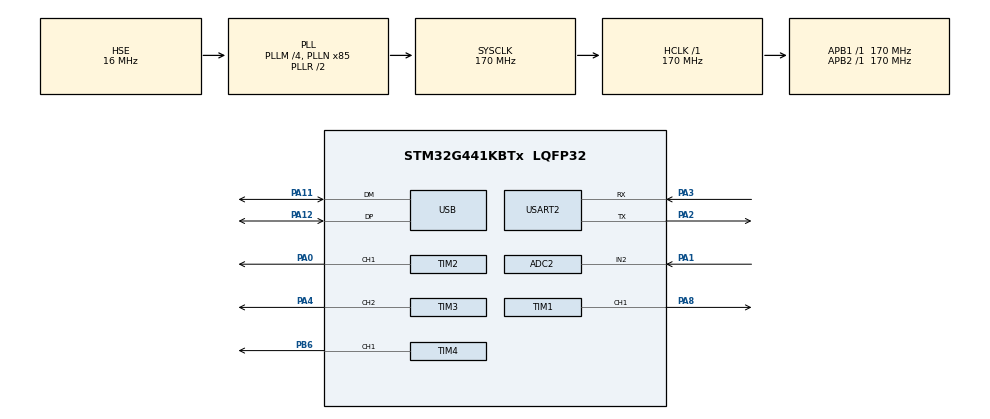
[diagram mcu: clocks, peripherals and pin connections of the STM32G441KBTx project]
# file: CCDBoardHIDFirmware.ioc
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ADC2.Channel-0\#ChannelRegularConversion=ADC_CHANNEL_2
ADC2.DMAContinuousRequests=ENABLE
ADC2.ExternalTrigConv=ADC_EXTERNALTRIG_T4_TRGO
ADC2.NbrOfConversionFlag=1
ADC2.OffsetNumber-0\#ChannelRegularConversion=ADC_OFFSET_NONE
ADC2.Rank-0\#ChannelRegularConversion=1
ADC2.SamplingTime-0\#ChannelRegularConversion=ADC_SAMPLETIME_2CYCLES_5
Dma.ADC2.0.Direction=DMA_PERIPH_TO_MEMORY
Dma.ADC2.0.EventEnable=ENABLE
Dma.ADC2.0.Instance=DMA1_Channel1
Dma.ADC2.0.MemDataAlignment=DMA_MDATAALIGN_WORD
Dma.ADC2.0.MemInc=DMA_MINC_ENABLE
Dma.ADC2.0.Mode=DMA_NORMAL
Dma.ADC2.0.PeriphDataAlignment=DMA_PDATAALIGN_HALFWORD
Dma.ADC2.0.PeriphInc=DMA_PINC_DISABLE
Dma.ADC2.0.Polarity=HAL_DMAMUX_REQ_GEN_RISING
Dma.ADC2.0.Priority=DMA_PRIORITY_LOW
Dma.ADC2.0.RequestNumber=1
Dma.ADC2.0.SignalID=NONE
Dma.ADC2.0.SyncEnable=DISABLE
Dma.ADC2.0.SyncPolarity=HAL_DMAMUX_SYNC_NO_EVENT
Dma.ADC2.0.SyncRequestNumber=1
Dma.ADC2.0.SyncSignalID=NONE
Dma.Request0=ADC2
Mcu.Family=STM32G4
Mcu.Name=STM32G441KBTx
Mcu.Package=LQFP32
NVIC.DMA1_Channel1_IRQn=true\:0\:0\:false\:false\:true\:false\:true\:true
NVIC.DMAMUX_OVR_IRQn=true\:0\:0\:false\:false\:true\:false\:true\:true
NVIC.PriorityGroup=NVIC_PRIORITYGROUP_4
NVIC.TIM2_IRQn=true\:0\:0\:false\:false\:true\:true\:true\:true
NVIC.USB_LP_IRQn=true\:0\:0\:false\:false\:true\:false\:true\:true
PA0.Signal=S_TIM2_CH1
PA1.Mode=IN2-Single-Ended
PA1.Signal=ADC2_IN2
PA11.Mode=Device
PA11.Signal=USB_DM
PA12.Mode=Device
PA12.Signal=USB_DP
PA13.Mode=Serial_Wire
PA13.Signal=SYS_JTMS-SWDIO
PA14.Mode=Serial_Wire
PA14.Signal=SYS_JTCK-SWCLK
PA2.Mode=Asynchronous
PA2.Signal=USART2_TX
PA3.Mode=Asynchronous
PA3.Signal=USART2_RX
PA4.Signal=S_TIM3_CH2
PA8.Signal=S_TIM1_CH1
PB6.Signal=S_TIM4_CH1
PF0-OSC_IN.Mode=HSE-External-Oscillator
PF0-OSC_IN.Signal=RCC_OSC_IN
PF1-OSC_OUT.Mode=HSE-External-Oscillator
PF1-OSC_OUT.Signal=RCC_OSC_OUT
ProjectManager.HeapSize=0x200
ProjectManager.StackSize=0x400
ProjectManager.TargetToolchain=STM32CubeIDE
RCC.ADC12Freq_Value=170000000
RCC.AHBFreq_Value=170000000
RCC.APB1Freq_Value=170000000
RCC.APB1TimFreq_Value=170000000
RCC.APB2Freq_Value=170000000
RCC.APB2TimFreq_Value=170000000
RCC.CK48CLockSelection=RCC_USBCLKSOURCE_HSI48
RCC.CortexFreq_Value=170000000
RCC.EXTERNAL_CLOCK_VALUE=12288000
RCC.HCLKFreq_Value=170000000
RCC.HSE_VALUE=16000000
RCC.HSI48_VALUE=48000000
RCC.HSI_VALUE=16000000
RCC.LSE_VALUE=32768
RCC.PLLM=RCC_PLLM_DIV4
RCC.PLLN=85
RCC.PLLSourceVirtual=RCC_PLLSOURCE_HSE
RCC.SYSCLKFreq_VALUE=170000000
RCC.SYSCLKSource=RCC_SYSCLKSOURCE_PLLCLK
RCC.USBFreq_Value=48000000
RCC.VCOOutputFreq_Value=340000000
SH.S_TIM1_CH1.0=TIM1_CH1,PWM Generation1 CH1
SH.S_TIM2_CH1.0=TIM2_CH1,PWM Generation1 CH1
SH.S_TIM3_CH2.0=TIM3_CH2,PWM Generation2 CH2
SH.S_TIM4_CH1.0=TIM4_CH1,PWM Generation1 CH1
TIM1.Channel-PWM\ Generation1\ CH1=TIM_CHANNEL_1
TIM1.OCPolarity_1=TIM_OCPOLARITY_LOW
TIM1.PeriodNoDither=25499
TIM1.Prescaler=49
TIM1.PulseNoDither_1=33
TIM1.TIM_MasterOutputTrigger=TIM_TRGO_ENABLE
TIM1.TIM_MasterOutputTrigger2=TIM_TRGO2_ENABLE
TIM2.Channel-PWM\ Generation1\ CH1=TIM_CHANNEL_1
TIM2.PeriodNoDither=3399
TIM2.PulseNoDither_1=679
TIM2.TIM_MasterSlaveMode=TIM_MASTERSLAVEMODE_ENABLE
TIM3.Channel-PWM\ Generation2\ CH2=TIM_CHANNEL_2
TIM3.PeriodNoDither=84
TIM3.PulseNoDither_2=42
TIM4.Channel-PWM\ Generation1\ CH1=TIM_CHANNEL_1
TIM4.PeriodNoDither=336
TIM4.PulseNoDither_1=42
TIM4.TIM_MasterOutputTrigger=TIM_TRGO_UPDATE
USART2.VirtualMode-Asynchronous=VM_ASYNC
USB_DEVICE.CLASS_NAME_FS=CUSTOM_HID
USB_DEVICE.USBD_CUSTOMHID_OUTREPORT_BUF_SIZE=2
USB_DEVICE.USBD_CUSTOM_HID_REPORT_DESC_SIZE=27
USB_DEVICE.USBD_LPM_ENABLED=0
USB_DEVICE.USBD_SELF_POWERED=0
USB_DEVICE.VirtualMode=CustomHid
USB_DEVICE.VirtualModeFS=Custom_Hid_FS
VP_SYS_VS_DBSignals.Mode=DisableDeadBatterySignals
VP_TIM1_VS_ClockSourceINT.Mode=Internal
VP_TIM2_VS_ClockSourceINT.Mode=Internal
VP_TIM2_VS_ClockSourceITR.Mode=TriggerSource_ITR0
VP_TIM2_VS_ControllerModeTrigger.Mode=Trigger Mode
VP_TIM3_VS_ClockSourceINT.Mode=Internal
VP_TIM4_VS_ClockSourceINT.Mode=Internal
VP_USB_DEVICE_VS_USB_DEVICE_CUSTOM_HID_FS.Mode=CUSTOM_HID_FS
board=custom

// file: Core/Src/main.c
/* USER CODE BEGIN Header */
/**
  ******************************************************************************
  * @file           : main.c
  * @brief          : Main program body
  ******************************************************************************
  * @attention
  *
  * Copyright (c) 2024 STMicroelectronics.
  * All rights reserved.
  *
  * This software is licensed under terms that can be found in the LICENSE file
  * in the root directory of this software component.
  * If no LICENSE file comes with this software, it is provided AS-IS.
  *
  ******************************************************************************
  */
/* USER CODE END Header */
#include "main.h"
#include "usb_device.h"

/* USER CODE BEGIN PD */
#define CCD_ARRAY_SIZE 3648
#define HID_PACKET_SIZE 64  // Standard HID packet size
#define HID_PAYLOAD_SIZE (HID_PACKET_SIZE - 1)  // 63 bytes for payload
#define HEADER_SEQ_MASK 0x0F
#define HEADER_ROLL_MASK 0xF0
#define MAX_USB_RETRIES 3
/* USER CODE END PD */

/* USER CODE BEGIN PM */
extern USBD_HandleTypeDef hUsbDeviceFS;
/* USER CODE END PM */

ADC_HandleTypeDef hadc2;
DMA_HandleTypeDef hdma_adc2;

TIM_HandleTypeDef htim1;
TIM_HandleTypeDef htim2;
TIM_HandleTypeDef htim3;
TIM_HandleTypeDef htim4;

UART_HandleTypeDef huart2;

/* USER CODE BEGIN PV */

volatile uint32_t ccd_read_buffer[CCD_ARRAY_SIZE];
uint16_t data_buffer_to_send[CCD_ARRAY_SIZE];
volatile uint8_t conversion_complete = 0;

/* USER CODE END PV */

void SystemClock_Config(void);
static void MX_GPIO_Init(void);
static void MX_DMA_Init(void);
static void MX_ADC2_Init(void);
static void MX_TIM1_Init(void);
static void MX_TIM2_Init(void);
static void MX_TIM3_Init(void);
static void MX_TIM4_Init(void);
static void MX_USART2_UART_Init(void);

/* USER CODE BEGIN 0 */

//Interrupt handler for DMA to complete (which corresponds to full CCD array read)
void HAL_ADC_ConvCpltCallback(ADC_HandleTypeDef* hadc)
{
  if(hadc->Instance == ADC2)
  {
    conversion_complete = 1;

    // Stop TIM4 after conversion complete and disable triggering it

    // Disable all slave mode selections
    TIM_SlaveConfigTypeDef sSlaveConfig = {0};
    sSlaveConfig.SlaveMode = TIM_SLAVEMODE_DISABLE;

    // Set the desired input trigger source
    sSlaveConfig.InputTrigger = TIM_TS_ITR0;

    // Configure the timer with the new settings
    if (HAL_TIM_SlaveConfigSynchro(&htim4, &sSlaveConfig) != HAL_OK) {
        // Handle error
        Error_Handler();
    }

    HAL_TIM_PWM_Stop(&htim4, TIM_CHANNEL_1);

    // Stop the timer
    HAL_TIM_Base_Stop(&htim4);

    //Stop ADC DMA
    HAL_ADC_Stop_DMA(&hadc2);
  }
}

//Initiates a single CCD array read DMA run
static void EnableADCConversion(void)
{
	HAL_StatusTypeDef status = HAL_ADC_Start_DMA(&hadc2, (uint32_t*)ccd_read_buffer, CCD_ARRAY_SIZE);
	if (status != HAL_OK) {
	    // Handle error
	    Error_Handler();
	}

    TIM_MasterConfigTypeDef sMasterConfig = {0};
    sMasterConfig.MasterOutputTrigger = TIM_TRGO_UPDATE;
    sMasterConfig.MasterSlaveMode = TIM_MASTERSLAVEMODE_DISABLE;
    if (HAL_TIMEx_MasterConfigSynchronization(&htim4, &sMasterConfig) != HAL_OK)
    {
      Error_Handler();
    }

    TIM_OC_InitTypeDef sConfigOC = {0};
    sConfigOC.OCMode = TIM_OCMODE_PWM1;
    sConfigOC.Pulse = 42;
    sConfigOC.OCPolarity = TIM_OCPOLARITY_HIGH;
    sConfigOC.OCFastMode = TIM_OCFAST_DISABLE;

    HAL_TIM_PWM_ConfigChannel(&htim4, &sConfigOC, TIM_CHANNEL_1);

    // Set TIM4 into slave trigger mode driven by ICG driving  timer TIM1
    // TIM4 drives DMA conversion, so it will enable analog data conversion
    // and storing it into memory
    TIM_SlaveConfigTypeDef sSlaveConfig = {0};

    // Set the desired slave mode (e.g., Reset mode, Gated mode, etc.)
    sSlaveConfig.SlaveMode = TIM_SLAVEMODE_TRIGGER;

    // Set the desired input trigger source
    sSlaveConfig.InputTrigger = TIM_TS_ITR0;

    // Configure the timer with the new settings
    if (HAL_TIM_SlaveConfigSynchro(&htim4, &sSlaveConfig) != HAL_OK) {
        // Handle error
        Error_Handler();
    }

    // Since the timer is in slave mode, I expect this won't start generating PWM immediatelly
    // Instead it will wait until master event and start PWM after
    HAL_TIM_PWM_Start(&htim4, TIM_CHANNEL_1);
}

static uint8_t rolling_counter = 0;

USBD_StatusTypeDef UsbDataAndCommandsExchangeLoop(uint16_t *data, uint16_t length) {
    struct OutDataMessage out_message;
    //struct InputCommandMessage* input_cmd_message = (struct InputCommandMessage*)USB_RX_Buffer;

    rolling_counter = (rolling_counter + 1) & 0x0F;

    /*
     *  uint32_t ceiling_division_unsigned(uint32_t numerator, uint32_t denominator) {
     *    return (numerator + denominator - 1) / denominator;
	 *	}
     */
    const uint8_t number_of_chunks_to_send = (CCD_ARRAY_SIZE + DATA_CHUNK_SIZE_SAMPLES - 1) / DATA_CHUNK_SIZE_SAMPLES;

    for (uint8_t data_chunk_index = 0;
         data_chunk_index < number_of_chunks_to_send;
         ++data_chunk_index)
    {
        out_message.seq_prefix = data_chunk_index;
        out_message.shutter = 0xBF;

        uint16_t chunk_size_samples = data_chunk_index == number_of_chunks_to_send - 1 ?
            CCD_ARRAY_SIZE % DATA_CHUNK_SIZE_SAMPLES : DATA_CHUNK_SIZE_SAMPLES;

        memcpy(
            out_message.data,
			&data[data_chunk_index * DATA_CHUNK_SIZE_SAMPLES],
			chunk_size_samples * sizeof(uint16_t)
		);

        if (chunk_size_samples < DATA_CHUNK_SIZE_SAMPLES) {
            memset(
                &out_message.data[1 + chunk_size_samples * sizeof(uint16_t)],
				0,
				DATA_CHUNK_SIZE_SAMPLES - chunk_size_samples
			);
        }

        uint8_t status = (int8_t)USBD_BUSY;
        puts("Attempting to send the data over USB\r");
        for (int retry = 0; (retry < MAX_USB_RETRIES) && (status != (uint8_t)USBD_OK); retry++) {
            status = USBD_CUSTOM_HID_SendReport(&hUsbDeviceFS, &out_message, HID_PACKET_SIZE);
            printf("HID send attempt: %d, USB status = %d\n\r", (int)retry, (int)status);
        }

        if (status != USBD_OK) {
            return status; // Transmission failed after max retries
        }
    }

    return USBD_OK;
}

void HAL_TIM_PeriodElapsedCallback(TIM_HandleTypeDef *htim)
{
  if(htim->Instance == TIM2)
  {
    // Re-configure Tim1 TRGO to Updateevent
	TIM_MasterConfigTypeDef sMasterConfig = {0};
	sMasterConfig.MasterOutputTrigger = TIM_TRGO_UPDATE;
	sMasterConfig.MasterSlaveMode = TIM_MASTERSLAVEMODE_ENABLE;

	HAL_StatusTypeDef status = HAL_TIMEx_MasterConfigSynchronization(&htim1, &sMasterConfig);
	if (status != HAL_OK)
	{
		// Handle error
		Error_Handler();
	}

	// Disable interrupt for Tim2
	HAL_TIM_Base_Stop_IT(&htim2);

	//Looks like trigger starts timer
	// TODO: Configure PWM without starting the timer
	//HAL_TIM_PWM_Start(&htim4, TIM_CHANNEL_1);

	// Start ADC conversion (also handles slave settings for tim4)
	EnableADCConversion();
  }
}

/* USER CODE END 0 */

int main(void)
{

  /* MCU Configuration--------------------------------------------------------*/

  /* Reset of all peripherals, Initializes the Flash interface and the Systick. */
  HAL_Init();

  /* Configure the system clock */
  SystemClock_Config();

  /* Initialize all configured peripherals */
  MX_GPIO_Init();
  MX_DMA_Init();
  MX_ADC2_Init();
  MX_TIM1_Init();
  MX_TIM2_Init();
  MX_TIM3_Init();
  MX_TIM4_Init();
  MX_USART2_UART_Init();
  MX_USB_Device_Init();
  /* USER CODE BEGIN 2 */
  HAL_TIM_PWM_Start(&htim1, TIM_CHANNEL_1);
  __HAL_TIM_SET_COUNTER(&htim1, 1); //850 ns delay
  HAL_TIM_Base_Start_IT(&htim2);
  HAL_TIM_PWM_Start(&htim2, TIM_CHANNEL_1);
  HAL_TIM_PWM_Start(&htim3, TIM_CHANNEL_2);
  htim3.Instance->CCR2 = 42;

  for (int i = 0; i < CCD_ARRAY_SIZE; ++i)
	  ccd_read_buffer[i] = 0xFFFFFFFF;

  /* USER CODE END 2 */

  /* Infinite loop */
  while (1)
  {

    /* USER CODE BEGIN 3 */
	if (conversion_complete)
	{
	  puts("Conversion batch completed!");

	  // Copy data from ccd_read_buffer to uart_send_buffer
	  for (int i = 0; i < CCD_ARRAY_SIZE; ++i) {
		  data_buffer_to_send[i] = (uint16_t)ccd_read_buffer[i];
	  }

	  /*
	  // Transmit data via UART
	  HAL_UART_Transmit(
			  &huart2,
			  (uint8_t*)uart_send_buffer,
			  (CCD_ARRAY_SIZE + 1) * sizeof(uint16_t),
			  HAL_MAX_DELAY);
	  */
	  USBD_StatusTypeDef send_result = UsbDataAndCommandsExchangeLoop(data_buffer_to_send, CCD_ARRAY_SIZE);

	  if (send_result != USBD_OK)
		  puts("Error while sending the data over USB");
	  else
		  puts("Successfully sent the data over USB");

	  conversion_complete = 0;

	  // Enable next ADC conversion (will start on next timer event)
	  puts("Re-enabling ADC conversion");
	  EnableADCConversion();
	}
  }
  /* USER CODE END 3 */
}

void SystemClock_Config(void)
{
  RCC_OscInitTypeDef RCC_OscInitStruct = {0};
  RCC_ClkInitTypeDef RCC_ClkInitStruct = {0};

  /** Configure the main internal regulator output voltage
  */
  HAL_PWREx_ControlVoltageScaling(PWR_REGULATOR_VOLTAGE_SCALE1_BOOST);

  /** Initializes the RCC Oscillators according to the specified parameters
  * in the RCC_OscInitTypeDef structure.
  */
  RCC_OscInitStruct.OscillatorType = RCC_OSCILLATORTYPE_HSI48|RCC_OSCILLATORTYPE_HSE;
  RCC_OscInitStruct.HSEState = RCC_HSE_ON;
  RCC_OscInitStruct.HSI48State = RCC_HSI48_ON;
  RCC_OscInitStruct.PLL.PLLState = RCC_PLL_ON;
  RCC_OscInitStruct.PLL.PLLSource = RCC_PLLSOURCE_HSE;
  RCC_OscInitStruct.PLL.PLLM = RCC_PLLM_DIV4;
  RCC_OscInitStruct.PLL.PLLN = 85;
  RCC_OscInitStruct.PLL.PLLP = RCC_PLLP_DIV2;
  RCC_OscInitStruct.PLL.PLLQ = RCC_PLLQ_DIV2;
  RCC_OscInitStruct.PLL.PLLR = RCC_PLLR_DIV2;
  if (HAL_RCC_OscConfig(&RCC_OscInitStruct) != HAL_OK)
  {
    Error_Handler();
  }

  /** Initializes the CPU, AHB and APB buses clocks
  */
  RCC_ClkInitStruct.ClockType = RCC_CLOCKTYPE_HCLK|RCC_CLOCKTYPE_SYSCLK
                              |RCC_CLOCKTYPE_PCLK1|RCC_CLOCKTYPE_PCLK2;
  RCC_ClkInitStruct.SYSCLKSource = RCC_SYSCLKSOURCE_PLLCLK;
  RCC_ClkInitStruct.AHBCLKDivider = RCC_SYSCLK_DIV1;
  RCC_ClkInitStruct.APB1CLKDivider = RCC_HCLK_DIV1;
  RCC_ClkInitStruct.APB2CLKDivider = RCC_HCLK_DIV1;

  if (HAL_RCC_ClockConfig(&RCC_ClkInitStruct, FLASH_LATENCY_4) != HAL_OK)
  {
    Error_Handler();
  }
}

static void MX_ADC2_Init(void)
{

  ADC_ChannelConfTypeDef sConfig = {0};

  /** Common config
  */
  hadc2.Instance = ADC2;
  hadc2.Init.ClockPrescaler = ADC_CLOCK_SYNC_PCLK_DIV4;
  hadc2.Init.Resolution = ADC_RESOLUTION_12B;
  hadc2.Init.DataAlign = ADC_DATAALIGN_RIGHT;
  hadc2.Init.GainCompensation = 0;
  hadc2.Init.ScanConvMode = ADC_SCAN_DISABLE;
  hadc2.Init.EOCSelection = ADC_EOC_SINGLE_CONV;
  hadc2.Init.LowPowerAutoWait = DISABLE;
  hadc2.Init.ContinuousConvMode = DISABLE;
  hadc2.Init.NbrOfConversion = 1;
  hadc2.Init.DiscontinuousConvMode = DISABLE;
  hadc2.Init.ExternalTrigConv = ADC_EXTERNALTRIG_T4_TRGO;
  hadc2.Init.ExternalTrigConvEdge = ADC_EXTERNALTRIGCONVEDGE_RISING;
  hadc2.Init.DMAContinuousRequests = ENABLE;
  hadc2.Init.Overrun = ADC_OVR_DATA_PRESERVED;
  hadc2.Init.OversamplingMode = DISABLE;
  if (HAL_ADC_Init(&hadc2) != HAL_OK)
  {
    Error_Handler();
  }

  /** Configure Regular Channel
  */
  sConfig.Channel = ADC_CHANNEL_2;
  sConfig.Rank = ADC_REGULAR_RANK_1;
  sConfig.SamplingTime = ADC_SAMPLETIME_2CYCLES_5;
  sConfig.SingleDiff = ADC_SINGLE_ENDED;
  sConfig.OffsetNumber = ADC_OFFSET_NONE;
  sConfig.Offset = 0;
  if (HAL_ADC_ConfigChannel(&hadc2, &sConfig) != HAL_OK)
  {
    Error_Handler();
  }

}

static void MX_TIM1_Init(void)
{

  TIM_ClockConfigTypeDef sClockSourceConfig = {0};
  TIM_MasterConfigTypeDef sMasterConfig = {0};
  TIM_OC_InitTypeDef sConfigOC = {0};
  TIM_BreakDeadTimeConfigTypeDef sBreakDeadTimeConfig = {0};

  htim1.Instance = TIM1;
  htim1.Init.Prescaler = 49;
  htim1.Init.CounterMode = TIM_COUNTERMODE_UP;
  htim1.Init.Period = 25499;
  htim1.Init.ClockDivision = TIM_CLOCKDIVISION_DIV1;
  htim1.Init.RepetitionCounter = 0;
  htim1.Init.AutoReloadPreload = TIM_AUTORELOAD_PRELOAD_DISABLE;
  if (HAL_TIM_Base_Init(&htim1) != HAL_OK)
  {
    Error_Handler();
  }
  sClockSourceConfig.ClockSource = TIM_CLOCKSOURCE_INTERNAL;
  if (HAL_TIM_ConfigClockSource(&htim1, &sClockSourceConfig) != HAL_OK)
  {
    Error_Handler();
  }
  if (HAL_TIM_PWM_Init(&htim1) != HAL_OK)
  {
    Error_Handler();
  }
  sMasterConfig.MasterOutputTrigger = TIM_TRGO_ENABLE;
  sMasterConfig.MasterOutputTrigger2 = TIM_TRGO2_ENABLE;
  sMasterConfig.MasterSlaveMode = TIM_MASTERSLAVEMODE_DISABLE;
  if (HAL_TIMEx_MasterConfigSynchronization(&htim1, &sMasterConfig) != HAL_OK)
  {
    Error_Handler();
  }
  sConfigOC.OCMode = TIM_OCMODE_PWM1;
  sConfigOC.Pulse = 33;
  sConfigOC.OCPolarity = TIM_OCPOLARITY_LOW;
  sConfigOC.OCNPolarity = TIM_OCNPOLARITY_HIGH;
  sConfigOC.OCFastMode = TIM_OCFAST_DISABLE;
  sConfigOC.OCIdleState = TIM_OCIDLESTATE_RESET;
  sConfigOC.OCNIdleState = TIM_OCNIDLESTATE_RESET;
  if (HAL_TIM_PWM_ConfigChannel(&htim1, &sConfigOC, TIM_CHANNEL_1) != HAL_OK)
  {
    Error_Handler();
  }
  sBreakDeadTimeConfig.OffStateRunMode = TIM_OSSR_DISABLE;
  sBreakDeadTimeConfig.OffStateIDLEMode = TIM_OSSI_DISABLE;
  sBreakDeadTimeConfig.LockLevel = TIM_LOCKLEVEL_OFF;
  sBreakDeadTimeConfig.DeadTime = 0;
  sBreakDeadTimeConfig.BreakState = TIM_BREAK_DISABLE;
  sBreakDeadTimeConfig.BreakPolarity = TIM_BREAKPOLARITY_HIGH;
  sBreakDeadTimeConfig.BreakFilter = 0;
  sBreakDeadTimeConfig.BreakAFMode = TIM_BREAK_AFMODE_INPUT;
  sBreakDeadTimeConfig.Break2State = TIM_BREAK2_DISABLE;
  sBreakDeadTimeConfig.Break2Polarity = TIM_BREAK2POLARITY_HIGH;
  sBreakDeadTimeConfig.Break2Filter = 0;
  sBreakDeadTimeConfig.Break2AFMode = TIM_BREAK_AFMODE_INPUT;
  sBreakDeadTimeConfig.AutomaticOutput = TIM_AUTOMATICOUTPUT_DISABLE;
  if (HAL_TIMEx_ConfigBreakDeadTime(&htim1, &sBreakDeadTimeConfig) != HAL_OK)
  {
    Error_Handler();
  }
  HAL_TIM_MspPostInit(&htim1);

}

static void MX_TIM2_Init(void)
{

  TIM_ClockConfigTypeDef sClockSourceConfig = {0};
  TIM_SlaveConfigTypeDef sSlaveConfig = {0};
  TIM_MasterConfigTypeDef sMasterConfig = {0};
  TIM_OC_InitTypeDef sConfigOC = {0};

  htim2.Instance = TIM2;
  htim2.Init.Prescaler = 0;
  htim2.Init.CounterMode = TIM_COUNTERMODE_UP;
  htim2.Init.Period = 3399;
  htim2.Init.ClockDivision = TIM_CLOCKDIVISION_DIV1;
  htim2.Init.AutoReloadPreload = TIM_AUTORELOAD_PRELOAD_DISABLE;
  if (HAL_TIM_Base_Init(&htim2) != HAL_OK)
  {
    Error_Handler();
  }
  sClockSourceConfig.ClockSource = TIM_CLOCKSOURCE_INTERNAL;
  if (HAL_TIM_ConfigClockSource(&htim2, &sClockSourceConfig) != HAL_OK)
  {
    Error_Handler();
  }
  if (HAL_TIM_PWM_Init(&htim2) != HAL_OK)
  {
    Error_Handler();
  }
  sSlaveConfig.SlaveMode = TIM_SLAVEMODE_TRIGGER;
  sSlaveConfig.InputTrigger = TIM_TS_ITR0;
  if (HAL_TIM_SlaveConfigSynchro(&htim2, &sSlaveConfig) != HAL_OK)
  {
    Error_Handler();
  }
  sMasterConfig.MasterOutputTrigger = TIM_TRGO_RESET;
  sMasterConfig.MasterSlaveMode = TIM_MASTERSLAVEMODE_ENABLE;
  if (HAL_TIMEx_MasterConfigSynchronization(&htim2, &sMasterConfig) != HAL_OK)
  {
    Error_Handler();
  }
  sConfigOC.OCMode = TIM_OCMODE_PWM1;
  sConfigOC.Pulse = 679;
  sConfigOC.OCPolarity = TIM_OCPOLARITY_HIGH;
  sConfigOC.OCFastMode = TIM_OCFAST_DISABLE;
  if (HAL_TIM_PWM_ConfigChannel(&htim2, &sConfigOC, TIM_CHANNEL_1) != HAL_OK)
  {
    Error_Handler();
  }
  HAL_TIM_MspPostInit(&htim2);

}

static void MX_TIM3_Init(void)
{

  TIM_ClockConfigTypeDef sClockSourceConfig = {0};
  TIM_MasterConfigTypeDef sMasterConfig = {0};
  TIM_OC_InitTypeDef sConfigOC = {0};

  htim3.Instance = TIM3;
  htim3.Init.Prescaler = 0;
  htim3.Init.CounterMode = TIM_COUNTERMODE_UP;
  htim3.Init.Period = 84;
  htim3.Init.ClockDivision = TIM_CLOCKDIVISION_DIV1;
  htim3.Init.AutoReloadPreload = TIM_AUTORELOAD_PRELOAD_DISABLE;
  if (HAL_TIM_Base_Init(&htim3) != HAL_OK)
  {
    Error_Handler();
  }
  sClockSourceConfig.ClockSource = TIM_CLOCKSOURCE_INTERNAL;
  if (HAL_TIM_ConfigClockSource(&htim3, &sClockSourceConfig) != HAL_OK)
  {
    Error_Handler();
  }
  if (HAL_TIM_PWM_Init(&htim3) != HAL_OK)
  {
    Error_Handler();
  }
  sMasterConfig.MasterOutputTrigger = TIM_TRGO_RESET;
  sMasterConfig.MasterSlaveMode = TIM_MASTERSLAVEMODE_DISABLE;
  if (HAL_TIMEx_MasterConfigSynchronization(&htim3, &sMasterConfig) != HAL_OK)
  {
    Error_Handler();
  }
  sConfigOC.OCMode = TIM_OCMODE_PWM1;
  sConfigOC.Pulse = 42;
  sConfigOC.OCPolarity = TIM_OCPOLARITY_HIGH;
  sConfigOC.OCFastMode = TIM_OCFAST_DISABLE;
  if (HAL_TIM_PWM_ConfigChannel(&htim3, &sConfigOC, TIM_CHANNEL_2) != HAL_OK)
  {
    Error_Handler();
  }
  HAL_TIM_MspPostInit(&htim3);

}

static void MX_TIM4_Init(void)
{

  TIM_ClockConfigTypeDef sClockSourceConfig = {0};
  TIM_MasterConfigTypeDef sMasterConfig = {0};
  TIM_OC_InitTypeDef sConfigOC = {0};

  htim4.Instance = TIM4;
  htim4.Init.Prescaler = 0;
  htim4.Init.CounterMode = TIM_COUNTERMODE_UP;
  htim4.Init.Period = 336;
  htim4.Init.ClockDivision = TIM_CLOCKDIVISION_DIV1;
  htim4.Init.AutoReloadPreload = TIM_AUTORELOAD_PRELOAD_DISABLE;
  if (HAL_TIM_Base_Init(&htim4) != HAL_OK)
  {
    Error_Handler();
  }
  sClockSourceConfig.ClockSource = TIM_CLOCKSOURCE_INTERNAL;
  if (HAL_TIM_ConfigClockSource(&htim4, &sClockSourceConfig) != HAL_OK)
  {
    Error_Handler();
  }
  if (HAL_TIM_PWM_Init(&htim4) != HAL_OK)
  {
    Error_Handler();
  }
  sMasterConfig.MasterOutputTrigger = TIM_TRGO_UPDATE;
  sMasterConfig.MasterSlaveMode = TIM_MASTERSLAVEMODE_DISABLE;
  if (HAL_TIMEx_MasterConfigSynchronization(&htim4, &sMasterConfig) != HAL_OK)
  {
    Error_Handler();
  }
  sConfigOC.OCMode = TIM_OCMODE_PWM1;
  sConfigOC.Pulse = 42;
  sConfigOC.OCPolarity = TIM_OCPOLARITY_HIGH;
  sConfigOC.OCFastMode = TIM_OCFAST_DISABLE;
  if (HAL_TIM_PWM_ConfigChannel(&htim4, &sConfigOC, TIM_CHANNEL_1) != HAL_OK)
  {
    Error_Handler();
  }
  HAL_TIM_MspPostInit(&htim4);

}

static void MX_USART2_UART_Init(void)
{

  huart2.Instance = USART2;
  huart2.Init.BaudRate = 115200;
  huart2.Init.WordLength = UART_WORDLENGTH_8B;
  huart2.Init.StopBits = UART_STOPBITS_1;
  huart2.Init.Parity = UART_PARITY_NONE;
  huart2.Init.Mode = UART_MODE_TX_RX;
  huart2.Init.HwFlowCtl = UART_HWCONTROL_NONE;
  huart2.Init.OverSampling = UART_OVERSAMPLING_16;
  huart2.Init.OneBitSampling = UART_ONE_BIT_SAMPLE_DISABLE;
  huart2.Init.ClockPrescaler = UART_PRESCALER_DIV1;
  huart2.AdvancedInit.AdvFeatureInit = UART_ADVFEATURE_NO_INIT;
  if (HAL_UART_Init(&huart2) != HAL_OK)
  {
    Error_Handler();
  }
  if (HAL_UARTEx_SetTxFifoThreshold(&huart2, UART_TXFIFO_THRESHOLD_1_8) != HAL_OK)
  {
    Error_Handler();
  }
  if (HAL_UARTEx_SetRxFifoThreshold(&huart2, UART_RXFIFO_THRESHOLD_1_8) != HAL_OK)
  {
    Error_Handler();
  }
  if (HAL_UARTEx_DisableFifoMode(&huart2) != HAL_OK)
  {
    Error_Handler();
  }

}

static void MX_DMA_Init(void)
{

  /* DMA controller clock enable */
  __HAL_RCC_DMAMUX1_CLK_ENABLE();
  __HAL_RCC_DMA1_CLK_ENABLE();

  /* DMA interrupt init */
  /* DMA1_Channel1_IRQn interrupt configuration */
  HAL_NVIC_SetPriority(DMA1_Channel1_IRQn, 0, 0);
  HAL_NVIC_EnableIRQ(DMA1_Channel1_IRQn);
  /* DMAMUX_OVR_IRQn interrupt configuration */
  HAL_NVIC_SetPriority(DMAMUX_OVR_IRQn, 0, 0);
  HAL_NVIC_EnableIRQ(DMAMUX_OVR_IRQn);

}

static void MX_GPIO_Init(void)
{

  /* GPIO Ports Clock Enable */
  __HAL_RCC_GPIOF_CLK_ENABLE();
  __HAL_RCC_GPIOA_CLK_ENABLE();
  __HAL_RCC_GPIOB_CLK_ENABLE();

}

void Error_Handler(void)
{
  __disable_irq();
  while (1)
  {
  }
}
